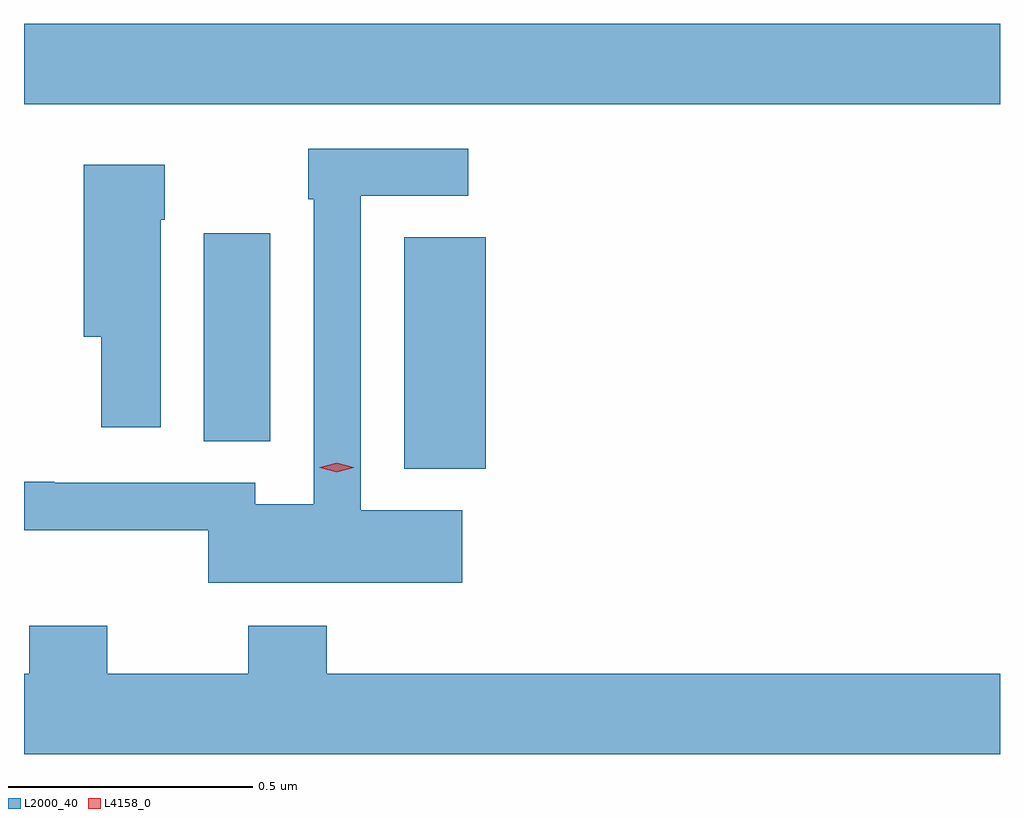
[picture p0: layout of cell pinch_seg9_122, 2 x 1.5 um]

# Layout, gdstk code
import gdstk
lib = gdstk.Library(unit=1e-6, precision=1e-09)
def R(c, l, rs):  # rectangles x0, y0, x1, y1
    for r in rs: c.add(gdstk.rectangle(r[:2], r[2:], *l))
def P(c, l, *ps):  # polygons
    for p in ps: c.add(gdstk.Polygon(p, *l))
L2000_40 = (2000, 40)
L4158_0 = (4158, 0)

pinch_seg9_122 = lib.new_cell('pinch_seg9_122')
R(pinch_seg9_122, L2000_40, [(833.981,1224.977,834.148,1225.451), (833.57,1225.033,833.707,1225.459), (833.202,1225.724,835.202,1225.888)])
P(pinch_seg9_122, L2000_40, [(834.1,1224.892),(833.892,1224.892),(833.892,1225.536),(834.112,1225.536),(834.112,1225.632),(833.784,1225.632),(833.784,1225.529),(833.796,1225.529),(833.796,1224.904),(833.676,1224.904),(833.676,1224.948),(833.264,1224.948),(833.264,1224.95),(833.202,1224.95),(833.202,1224.851),(833.58,1224.851),(833.58,1224.743),(834.1,1224.743)],
  [(833.482,1225.487),(833.49,1225.487),(833.49,1225.6),(833.324,1225.6),(833.324,1225.247),(833.36,1225.247),(833.36,1225.062),(833.482,1225.062)],
  [(835.202,1224.556),(833.822,1224.556),(833.822,1224.655),(833.662,1224.655),(833.662,1224.556),(833.373,1224.556),(833.373,1224.655),(833.213,1224.655),(833.213,1224.556),(833.202,1224.556),(833.202,1224.392),(835.202,1224.392)])
P(pinch_seg9_122, L4158_0, [(833.843,1224.969),(833.808,1224.979),(833.808,1224.979),(833.808,1224.98),(833.843,1224.989),(833.878,1224.98),(833.878,1224.979),(833.878,1224.979)])

lib.write_gds('pinch_seg9_122.gds')
